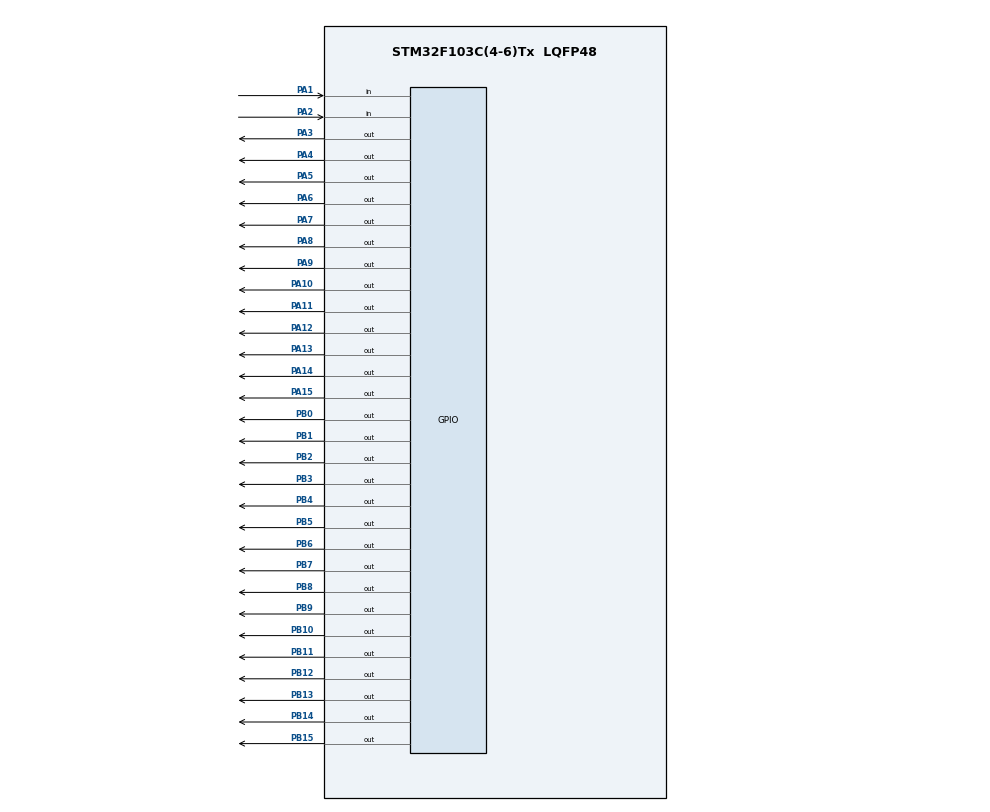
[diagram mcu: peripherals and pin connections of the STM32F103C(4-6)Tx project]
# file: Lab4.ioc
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Mcu.Family=STM32F1
Mcu.Name=STM32F103C(4-6)Tx
Mcu.Package=LQFP48
NVIC.PriorityGroup=NVIC_PRIORITYGROUP_4
NVIC.TIM2_IRQn=true\:0\:0\:false\:false\:true\:true\:true
PA1.Signal=GPIO_Input
PA10.Signal=GPIO_Output
PA11.Signal=GPIO_Output
PA12.Signal=GPIO_Output
PA13.Signal=GPIO_Output
PA14.Signal=GPIO_Output
PA15.Signal=GPIO_Output
PA2.Signal=GPIO_Input
PA3.Signal=GPIO_Output
PA4.Signal=GPIO_Output
PA5.Signal=GPIO_Output
PA6.Signal=GPIO_Output
PA7.Signal=GPIO_Output
PA8.Signal=GPIO_Output
PA9.Signal=GPIO_Output
PB0.Signal=GPIO_Output
PB1.Signal=GPIO_Output
PB10.Signal=GPIO_Output
PB11.Signal=GPIO_Output
PB12.Signal=GPIO_Output
PB13.Signal=GPIO_Output
PB14.Signal=GPIO_Output
PB15.Signal=GPIO_Output
PB2.Signal=GPIO_Output
PB3.Signal=GPIO_Output
PB4.Signal=GPIO_Output
PB5.Signal=GPIO_Output
PB6.Signal=GPIO_Output
PB7.Signal=GPIO_Output
PB8.Signal=GPIO_Output
PB9.Signal=GPIO_Output
ProjectManager.HeapSize=0x200
ProjectManager.StackSize=0x400
ProjectManager.TargetToolchain=STM32CubeIDE
RCC.APB1Freq_Value=8000000
RCC.APB2Freq_Value=8000000
TIM2.Period=9
TIM2.Prescaler=7999
VP_SYS_VS_ND.Mode=No_Debug
VP_TIM2_VS_ClockSourceINT.Mode=Internal
board=custom

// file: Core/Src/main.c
/* USER CODE BEGIN Header */
/**
  ******************************************************************************
  * @file           : main.c
  * @brief          : Main program body
  ******************************************************************************
  * @attention
  *
  * <h2><center>&copy; Copyright (c) 2021 STMicroelectronics.
  * All rights reserved.</center></h2>
  *
  * This software component is licensed by ST under BSD 3-Clause license,
  * the "License"; You may not use this file except in compliance with the
  * License. You may obtain a copy of the License at:
  *                        opensource.org/licenses/BSD-3-Clause
  *
  ******************************************************************************
  */
/* USER CODE END Header */
#include "main.h"

TIM_HandleTypeDef htim2;

void SystemClock_Config(void);
static void MX_GPIO_Init(void);
static void MX_TIM2_Init(void);

/* USER CODE BEGIN 0 */
#define SCH_MAX_TASKS 40
uint32_t will_exercute_index;
uint32_t min_task_delay_update = 0;
uint32_t min_task_delay = 0;
void Function_A (){
	HAL_GPIO_TogglePin ( GPIOA , GPIO_PIN_3 ) ;
}
void Function_B (){
	HAL_GPIO_TogglePin ( GPIOA , GPIO_PIN_4 ) ;
}
void Function_C (){
	HAL_GPIO_TogglePin ( GPIOA , GPIO_PIN_5 ) ;
}
void Function_D (){
	HAL_GPIO_TogglePin ( GPIOA , GPIO_PIN_6 ) ;
}
void Function_E (){
	HAL_GPIO_TogglePin ( GPIOA , GPIO_PIN_7 ) ;
}

/* USER CODE END 0 */

int main(void)
{

  /* MCU Configuration--------------------------------------------------------*/

  /* Reset of all peripherals, Initializes the Flash interface and the Systick. */
  HAL_Init();

  /* Configure the system clock */
  SystemClock_Config();

  /* Initialize all configured peripherals */
  MX_GPIO_Init();
  MX_TIM2_Init();
  /* USER CODE BEGIN 2 */
  HAL_TIM_Base_Start_IT(&htim2);
  HAL_GPIO_WritePin ( GPIOA , GPIO_PIN_3, SET);
  HAL_GPIO_WritePin ( GPIOA , GPIO_PIN_4, SET);
  HAL_GPIO_WritePin ( GPIOA , GPIO_PIN_5, SET);
  HAL_GPIO_WritePin ( GPIOA , GPIO_PIN_6, SET);
  HAL_GPIO_WritePin ( GPIOA , GPIO_PIN_7, SET);
  SCH_Init () ;
  SCH_Add_Task ( Function_A , 0 , 100);
  SCH_Add_Task ( Function_B , 100 , 100) ;
  SCH_Add_Task ( Function_C , 200 , 200) ;
  SCH_Add_Task ( Function_D , 300 , 100) ;
  SCH_Add_Task ( Function_E , 500 , 100) ;
  will_exercute_index = min_Task();
  /* USER CODE END 2 */

  /* Infinite loop */
  while (1)
  {

    /* USER CODE BEGIN 3 */
	  SCH_Dispatch_Tasks () ;

  }
  /* USER CODE END 3 */
}

void SystemClock_Config(void)
{
  RCC_OscInitTypeDef RCC_OscInitStruct = {0};
  RCC_ClkInitTypeDef RCC_ClkInitStruct = {0};

  /** Initializes the RCC Oscillators according to the specified parameters
  * in the RCC_OscInitTypeDef structure.
  */
  RCC_OscInitStruct.OscillatorType = RCC_OSCILLATORTYPE_HSI;
  RCC_OscInitStruct.HSIState = RCC_HSI_ON;
  RCC_OscInitStruct.HSICalibrationValue = RCC_HSICALIBRATION_DEFAULT;
  RCC_OscInitStruct.PLL.PLLState = RCC_PLL_NONE;
  if (HAL_RCC_OscConfig(&RCC_OscInitStruct) != HAL_OK)
  {
    Error_Handler();
  }
  /** Initializes the CPU, AHB and APB buses clocks
  */
  RCC_ClkInitStruct.ClockType = RCC_CLOCKTYPE_HCLK|RCC_CLOCKTYPE_SYSCLK
                              |RCC_CLOCKTYPE_PCLK1|RCC_CLOCKTYPE_PCLK2;
  RCC_ClkInitStruct.SYSCLKSource = RCC_SYSCLKSOURCE_HSI;
  RCC_ClkInitStruct.AHBCLKDivider = RCC_SYSCLK_DIV1;
  RCC_ClkInitStruct.APB1CLKDivider = RCC_HCLK_DIV1;
  RCC_ClkInitStruct.APB2CLKDivider = RCC_HCLK_DIV1;

  if (HAL_RCC_ClockConfig(&RCC_ClkInitStruct, FLASH_LATENCY_0) != HAL_OK)
  {
    Error_Handler();
  }
}

static void MX_TIM2_Init(void)
{

  TIM_ClockConfigTypeDef sClockSourceConfig = {0};
  TIM_MasterConfigTypeDef sMasterConfig = {0};

  htim2.Instance = TIM2;
  htim2.Init.Prescaler = 7999;
  htim2.Init.CounterMode = TIM_COUNTERMODE_UP;
  htim2.Init.Period = 9;
  htim2.Init.ClockDivision = TIM_CLOCKDIVISION_DIV1;
  htim2.Init.AutoReloadPreload = TIM_AUTORELOAD_PRELOAD_DISABLE;
  if (HAL_TIM_Base_Init(&htim2) != HAL_OK)
  {
    Error_Handler();
  }
  sClockSourceConfig.ClockSource = TIM_CLOCKSOURCE_INTERNAL;
  if (HAL_TIM_ConfigClockSource(&htim2, &sClockSourceConfig) != HAL_OK)
  {
    Error_Handler();
  }
  sMasterConfig.MasterOutputTrigger = TIM_TRGO_RESET;
  sMasterConfig.MasterSlaveMode = TIM_MASTERSLAVEMODE_DISABLE;
  if (HAL_TIMEx_MasterConfigSynchronization(&htim2, &sMasterConfig) != HAL_OK)
  {
    Error_Handler();
  }

}

static void MX_GPIO_Init(void)
{
  GPIO_InitTypeDef GPIO_InitStruct = {0};

  /* GPIO Ports Clock Enable */
  __HAL_RCC_GPIOA_CLK_ENABLE();
  __HAL_RCC_GPIOB_CLK_ENABLE();

  /*Configure GPIO pin Output Level */
  HAL_GPIO_WritePin(GPIOA, GPIO_PIN_3|GPIO_PIN_4|GPIO_PIN_5|GPIO_PIN_6
                          |GPIO_PIN_7|GPIO_PIN_8|GPIO_PIN_9|GPIO_PIN_10
                          |GPIO_PIN_11|GPIO_PIN_12|GPIO_PIN_13|GPIO_PIN_14
                          |GPIO_PIN_15, GPIO_PIN_RESET);

  /*Configure GPIO pin Output Level */
  HAL_GPIO_WritePin(GPIOB, GPIO_PIN_0|GPIO_PIN_1|GPIO_PIN_2|GPIO_PIN_10
                          |GPIO_PIN_11|GPIO_PIN_12|GPIO_PIN_13|GPIO_PIN_14
                          |GPIO_PIN_15|GPIO_PIN_3|GPIO_PIN_4|GPIO_PIN_5
                          |GPIO_PIN_6|GPIO_PIN_7|GPIO_PIN_8|GPIO_PIN_9, GPIO_PIN_RESET);

  /*Configure GPIO pins : PA1 PA2 */
  GPIO_InitStruct.Pin = GPIO_PIN_1|GPIO_PIN_2;
  GPIO_InitStruct.Mode = GPIO_MODE_INPUT;
  GPIO_InitStruct.Pull = GPIO_NOPULL;
  HAL_GPIO_Init(GPIOA, &GPIO_InitStruct);

  /*Configure GPIO pins : PA3 PA4 PA5 PA6
                           PA7 PA8 PA9 PA10
                           PA11 PA12 PA13 PA14
                           PA15 */
  GPIO_InitStruct.Pin = GPIO_PIN_3|GPIO_PIN_4|GPIO_PIN_5|GPIO_PIN_6
                          |GPIO_PIN_7|GPIO_PIN_8|GPIO_PIN_9|GPIO_PIN_10
                          |GPIO_PIN_11|GPIO_PIN_12|GPIO_PIN_13|GPIO_PIN_14
                          |GPIO_PIN_15;
  GPIO_InitStruct.Mode = GPIO_MODE_OUTPUT_PP;
  GPIO_InitStruct.Pull = GPIO_NOPULL;
  GPIO_InitStruct.Speed = GPIO_SPEED_FREQ_LOW;
  HAL_GPIO_Init(GPIOA, &GPIO_InitStruct);

  /*Configure GPIO pins : PB0 PB1 PB2 PB10
                           PB11 PB12 PB13 PB14
                           PB15 PB3 PB4 PB5
                           PB6 PB7 PB8 PB9 */
  GPIO_InitStruct.Pin = GPIO_PIN_0|GPIO_PIN_1|GPIO_PIN_2|GPIO_PIN_10
                          |GPIO_PIN_11|GPIO_PIN_12|GPIO_PIN_13|GPIO_PIN_14
                          |GPIO_PIN_15|GPIO_PIN_3|GPIO_PIN_4|GPIO_PIN_5
                          |GPIO_PIN_6|GPIO_PIN_7|GPIO_PIN_8|GPIO_PIN_9;
  GPIO_InitStruct.Mode = GPIO_MODE_OUTPUT_PP;
  GPIO_InitStruct.Pull = GPIO_NOPULL;
  GPIO_InitStruct.Speed = GPIO_SPEED_FREQ_LOW;
  HAL_GPIO_Init(GPIOB, &GPIO_InitStruct);

}

/* USER CODE BEGIN 4 */
void HAL_TIM_PeriodElapsedCallback (TIM_HandleTypeDef *htim ) {
	SCH_Update ( ) ;
}
/* USER CODE END 4 */

void Error_Handler(void)
{
  __disable_irq();
  while (1)
  {
  }
}

/************************ (C) COPYRIGHT STMicroelectronics *****END OF FILE****/
